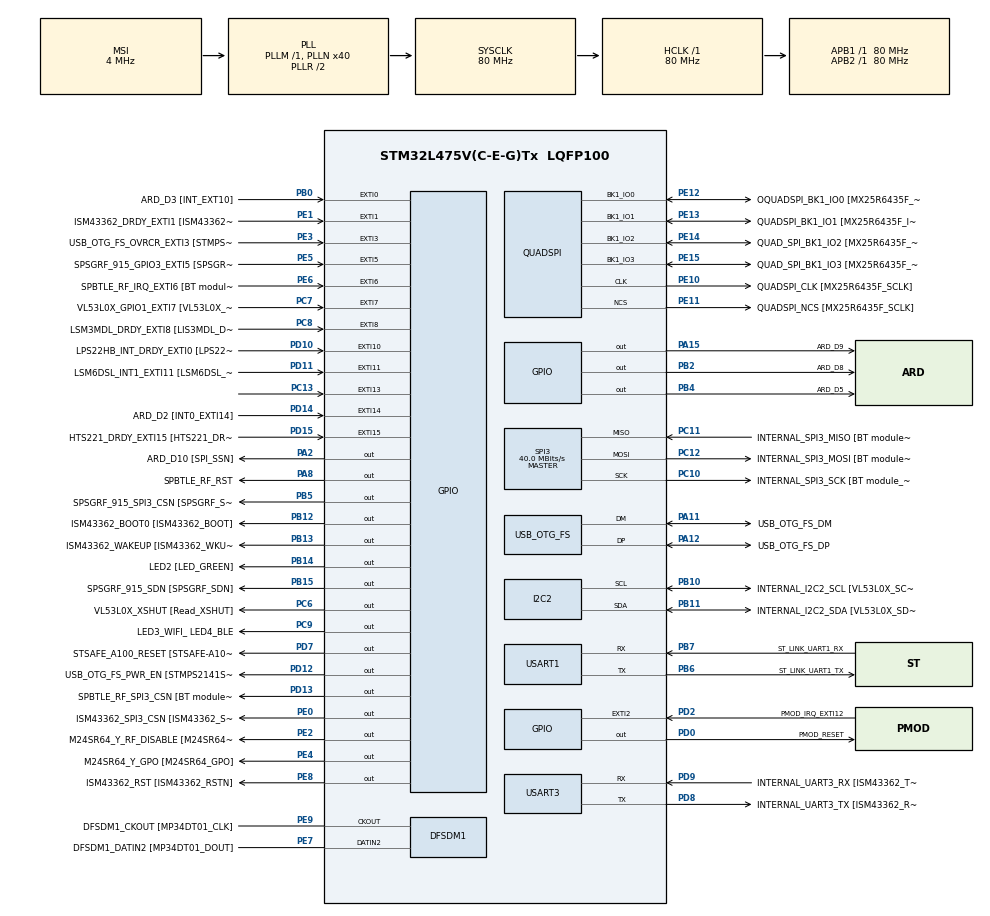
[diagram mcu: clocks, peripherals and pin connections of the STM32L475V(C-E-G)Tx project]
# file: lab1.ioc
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FREERTOS.Tasks01=defaultTask,24,128,StartDefaultTask,Default,NULL,Dynamic,NULL,NULL;myTask02,47,128,StartTask02,Default,NULL,Dynamic,NULL,NULL;myTask03,47,128,StartTask03,Default,NULL,Dynamic,NULL,NULL
I2C2.Timing=0x10D19CE4
Mcu.Family=STM32L4
Mcu.Name=STM32L475V(C-E-G)Tx
Mcu.Package=LQFP100
NVIC.EXTI15_10_IRQn=true\:5\:0\:false\:false\:true\:true\:true\:true\:true
NVIC.EXTI9_5_IRQn=true\:5\:0\:false\:false\:true\:true\:true\:true\:true
NVIC.PriorityGroup=NVIC_PRIORITYGROUP_4
PA0.GPIO_Label=ARD_D1 [UART4_TX]
PA0.Signal=UART4_TX
PA1.GPIO_Label=ARD_D0 [UART4_RX]
PA1.Signal=UART4_RX
PA10.GPIO_Label=USB_OTG_FS_ID
PA10.Signal=USB_OTG_FS_ID
PA11.GPIO_Label=USB_OTG_FS_DM
PA11.Mode=Device_Only
PA11.Signal=USB_OTG_FS_DM
PA12.GPIO_Label=USB_OTG_FS_DP
PA12.Mode=Device_Only
PA12.Signal=USB_OTG_FS_DP
PA13\ (JTMS-SWDIO).GPIO_Label=SYS_JTMS_SWDIO
PA13\ (JTMS-SWDIO).Mode=Serial_Wire
PA13\ (JTMS-SWDIO).Signal=SYS_JTMS-SWDIO
PA14\ (JTCK-SWCLK).GPIO_Label=SYS_JTCK_SWCLK
PA14\ (JTCK-SWCLK).Mode=Serial_Wire
PA14\ (JTCK-SWCLK).Signal=SYS_JTCK-SWCLK
PA15\ (JTDI).GPIO_Label=ARD_D9
PA15\ (JTDI).Signal=GPIO_Output
PA2.GPIO_Label=ARD_D10 [SPI_SSN]
PA2.Signal=GPIO_Output
PA3.GPIO_Label=ARD_D4
PA3.Signal=S_TIM2_CH4
PA4.GPIO_Label=ARD_D7
PA4.Signal=ADCx_IN9
PA5.GPIO_Label=ARD_D13 [SPI1_SCK]
PA5.Signal=SPI1_SCK
PA6.GPIO_Label=ARD_D12 [SPI1_MISO]
PA6.Signal=SPI1_MISO
PA7.GPIO_Label=ARD_D11 [SPI1_MOSI]
PA7.Signal=SPI1_MOSI
PA8.GPIO_Label=SPBTLE_RF_RST
PA8.Signal=GPIO_Output
PA9.GPIO_Label=USB_OTG_FS_VBUS [STMPS2141STR_OUT]
PA9.Signal=USB_OTG_FS_VBUS
PB0.GPIO_Label=ARD_D3 [INT_EXT10]
PB0.Signal=GPXTI0
PB1.GPIO_Label=ARD_D6 [ADC1_IN6]
PB1.Signal=ADCx_IN16
PB10.GPIO_Label=INTERNAL_I2C2_SCL [VL53L0X_SCL]
PB10.GPIO_Pu=GPIO_PULLUP
PB10.Mode=I2C
PB10.Signal=I2C2_SCL
PB11.GPIO_Label=INTERNAL_I2C2_SDA [VL53L0X_SDA]
PB11.GPIO_Pu=GPIO_PULLUP
PB11.Mode=I2C
PB11.Signal=I2C2_SDA
PB12.GPIO_Label=ISM43362_BOOT0 [ISM43362_BOOT]
PB12.Signal=GPIO_Output
PB13.GPIO_Label=ISM43362_WAKEUP [ISM43362_WKUP]
PB13.Signal=GPIO_Output
PB14.GPIO_Label=LED2 [LED_GREEN]
PB14.Signal=GPIO_Output
PB15.GPIO_Label=SPSGRF_915_SDN [SPSGRF_SDN]
PB15.Signal=GPIO_Output
PB2.GPIO_Label=ARD_D8
PB2.Signal=GPIO_Output
PB3\ (JTDO-TRACESWO).GPIO_Label=SYS_JTD0_SWO
PB3\ (JTDO-TRACESWO).Signal=SYS_JTDO-SWO
PB4\ (NJTRST).GPIO_Label=ARD_D5
PB4\ (NJTRST).Signal=GPIO_Output
PB5.GPIO_Label=SPSGRF_915_SPI3_CSN [SPSGRF_SPI_CS]
PB5.PinState=GPIO_PIN_SET
PB5.Signal=GPIO_Output
PB6.GPIO_Label=ST_LINK_UART1_TX
PB6.Mode=Asynchronous
PB6.Signal=USART1_TX
PB7.GPIO_Label=ST_LINK_UART1_RX
PB7.Mode=Asynchronous
PB7.Signal=USART1_RX
PB8.GPIO_Label=ARD_D15 [I2C1_SCL]
PB8.Signal=I2C1_SCL
PB9.GPIO_Label=ARD_D14 [I2C1_SDA]
PB9.Signal=I2C1_SDA
PC0.GPIO_Label=ARD_A5 [ADC]
PC0.Signal=ADCx_IN1
PC1.GPIO_Label=ARD_A4 [ADC]
PC1.Signal=ADCx_IN2
PC10.GPIO_Label=INTERNAL_SPI3_SCK [BT module_SPI_SCLK] [ISM43362_SCK]
PC10.Mode=Full_Duplex_Master
PC10.Signal=SPI3_SCK
PC11.GPIO_Label=INTERNAL_SPI3_MISO [BT module_SPI_MISO] [ISM43362_MISO]
PC11.Mode=Full_Duplex_Master
PC11.Signal=SPI3_MISO
PC12.GPIO_Label=INTERNAL_SPI3_MOSI [BT module_SPI_MOSI] [ISM43362_MOSI]
PC12.Mode=Full_Duplex_Master
PC12.Signal=SPI3_MOSI
PC13.GPIO_ModeDefaultEXTI=GPIO_MODE_IT_RISING_FALLING
PC13.Signal=GPXTI13
PC14-OSC32_IN\ (PC14).Mode=LSE-External-Oscillator
PC14-OSC32_IN\ (PC14).Signal=RCC_OSC32_IN
PC15-OSC32_OUT\ (PC15).Mode=LSE-External-Oscillator
PC15-OSC32_OUT\ (PC15).Signal=RCC_OSC32_OUT
PC2.GPIO_Label=ARD_A3 [ADC]
PC2.Signal=ADCx_IN3
PC3.GPIO_Label=ARD_A2 [ADC]
PC3.Signal=ADCx_IN4
PC4.GPIO_Label=ARD_A1 [ADC]
PC4.Signal=ADCx_IN13
PC5.GPIO_Label=ARD_A0 [ADC]
PC5.Signal=ADCx_IN14
PC6.GPIO_Label=VL53L0X_XSHUT [Read_XSHUT]
PC6.Signal=GPIO_Output
PC7.GPIO_Label=VL53L0X_GPIO1_EXTI7 [VL53L0X_GPIO1]
PC7.Signal=GPXTI7
PC8.GPIO_Label=LSM3MDL_DRDY_EXTI8 [LIS3MDL_DRDY]
PC8.Signal=GPXTI8
PC9.GPIO_Label=LED3_WIFI_ LED4_BLE
PC9.Signal=GPIO_Output
PD0.GPIO_Label=PMOD_RESET
PD0.Signal=GPIO_Output
PD1.GPIO_Label=PMOD_SPI2_SCK
PD1.Signal=SPI2_SCK
PD10.GPIO_Label=LPS22HB_INT_DRDY_EXTI0 [LPS22HB_INT_DRDY] 
PD10.Signal=GPXTI10
PD11.GPIO_Label=LSM6DSL_INT1_EXTI11 [LSM6DSL_INT1]
PD11.Signal=GPXTI11
PD12.GPIO_Label=USB_OTG_FS_PWR_EN [STMPS2141STR_EN]
PD12.Signal=GPIO_Output
PD13.GPIO_Label=SPBTLE_RF_SPI3_CSN [BT module_SPI_CS]
PD13.PinState=GPIO_PIN_SET
PD13.Signal=GPIO_Output
PD14.GPIO_Label=ARD_D2 [INT0_EXTI14]
PD14.Signal=GPXTI14
PD15.GPIO_Label=HTS221_DRDY_EXTI15 [HTS221_DRDY]
PD15.Signal=GPXTI15
PD2.GPIO_Label=PMOD_IRQ_EXTI12
PD2.Signal=GPXTI2
PD3.GPIO_Label=PMOD_UART2_CTS
PD3.Signal=USART2_CTS
PD4.GPIO_Label=PMOD_UART2_RTS
PD4.Signal=USART2_RTS
PD5.GPIO_Label=PMOD_UART2_TX
PD5.Signal=USART2_TX
PD6.GPIO_Label=PMOD_UART2_RX
PD6.Signal=USART2_RX
PD7.GPIO_Label=STSAFE_A100_RESET [STSAFE-A100_RESET]
PD7.Signal=GPIO_Output
PD8.GPIO_Label=INTERNAL_UART3_TX [ISM43362_RX]
PD8.Mode=Asynchronous
PD8.Signal=USART3_TX
PD9.GPIO_Label=INTERNAL_UART3_RX [ISM43362_TX]
PD9.Mode=Asynchronous
PD9.Signal=USART3_RX
PE0.GPIO_Label=ISM43362_SPI3_CSN [ISM43362_SSN]
PE0.PinState=GPIO_PIN_SET
PE0.Signal=GPIO_Output
PE1.GPIO_Label=ISM43362_DRDY_EXTI1 [ISM43362_DATARDY]
PE1.Signal=GPXTI1
PE10.GPIO_Label=QUADSPI_CLK [MX25R6435F_SCLK]
PE10.Mode=Single Bank
PE10.Signal=QUADSPI_CLK
PE11.GPIO_Label=QUADSPI_NCS [MX25R6435F_SCLK]
PE11.Mode=Single Bank
PE11.Signal=QUADSPI_NCS
PE12.GPIO_Label=OQUADSPI_BK1_IO0 [MX25R6435F_IO0]
PE12.Mode=Single Bank
PE12.Signal=QUADSPI_BK1_IO0
PE13.GPIO_Label=QUADSPI_BK1_IO1 [MX25R6435F_IO1]
PE13.Mode=Single Bank
PE13.Signal=QUADSPI_BK1_IO1
PE14.GPIO_Label=QUAD_SPI_BK1_IO2 [MX25R6435F_IO2]
PE14.Mode=Single Bank
PE14.Signal=QUADSPI_BK1_IO2
PE15.GPIO_Label=QUAD_SPI_BK1_IO3 [MX25R6435F_IO3]
PE15.Mode=Single Bank
PE15.Signal=QUADSPI_BK1_IO3
PE2.GPIO_Label=M24SR64_Y_RF_DISABLE [M24SR64_RFDIS]
PE2.Signal=GPIO_Output
PE3.GPIO_Label=USB_OTG_FS_OVRCR_EXTI3 [STMPS2141STR_FAULT]
PE3.Signal=GPXTI3
PE4.GPIO_Label=M24SR64_Y_GPO [M24SR64_GPO]
PE4.Signal=GPIO_Output
PE5.GPIO_Label=SPSGRF_915_GPIO3_EXTI5 [SPSGRF_GPIO_3]
PE5.Signal=GPXTI5
PE6.GPIO_Label=SPBTLE_RF_IRQ_EXTI6 [BT module_SPI_IRQ]
PE6.Signal=GPXTI6
PE7.GPIO_Label=DFSDM1_DATIN2 [MP34DT01_DOUT]
PE7.Signal=S_DATAIN2DFSDM1
PE8.GPIO_Label=ISM43362_RST [ISM43362_RSTN]
PE8.Signal=GPIO_Output
PE9.GPIO_Label=DFSDM1_CKOUT [MP34DT01_CLK]
PE9.Signal=S_CKOUTDFSDM1
ProjectManager.HeapSize=0x200
ProjectManager.StackSize=0x400
ProjectManager.TargetToolchain=CMake
QUADSPI.ClockPrescaler=2
QUADSPI.FifoThreshold=4
QUADSPI.FlashSize=23
QUADSPI.SampleShifting=QSPI_SAMPLE_SHIFTING_HALFCYCLE
RCC.ADCFreq_Value=48000000
RCC.AHBFreq_Value=80000000
RCC.APB1Freq_Value=80000000
RCC.APB1TimFreq_Value=80000000
RCC.APB2Freq_Value=80000000
RCC.APB2TimFreq_Value=80000000
RCC.CortexFreq_Value=80000000
RCC.HCLKFreq_Value=80000000
RCC.HSE_VALUE=8000000
RCC.HSI_VALUE=16000000
RCC.MSI_VALUE=4000000
RCC.PLLN=40
RCC.PLLSAI1N=24
RCC.SYSCLKFreq_VALUE=80000000
RCC.SYSCLKSource=RCC_SYSCLKSOURCE_PLLCLK
RCC.USBFreq_Value=48000000
RCC.VCOOutputFreq_Value=160000000
SH.ADCx_IN1.0=ADC1_IN1
SH.ADCx_IN13.0=ADC1_IN13
SH.ADCx_IN14.0=ADC1_IN14
SH.ADCx_IN16.0=ADC1_IN16
SH.ADCx_IN2.0=ADC1_IN2
SH.ADCx_IN3.0=ADC1_IN3
SH.ADCx_IN4.0=ADC1_IN4
SH.ADCx_IN9.0=ADC1_IN9
SH.S_CKOUTDFSDM1.0=DFSDM1_CKOUT,CKOUT
SH.S_CKOUTDFSDM1.1=DFSDM1_CKOUT,PDM_SPI_Input_from_ch12_and_Internal_Clock
SH.S_DATAIN2DFSDM1.0=DFSDM1_DATIN2,PDM_SPI_Input_from_ch12_and_Internal_Clock
SH.S_TIM2_CH4.0=TIM2_CH4
SPI3.CalculateBaudRate=40.0 MBits/s
SPI3.Direction=SPI_DIRECTION_2LINES
SPI3.Mode=SPI_MODE_MASTER
SPI3.VirtualType=VM_MASTER
USART1.VirtualMode-Asynchronous=VM_ASYNC
USART3.VirtualMode-Asynchronous=VM_ASYNC
USB_OTG_FS.VirtualMode=Device_Only
VP_FREERTOS_VS_CMSIS_V2.Mode=CMSIS_V2
board=B-L475E-IOT01A1

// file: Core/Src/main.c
/* USER CODE BEGIN Header */
/**
  ******************************************************************************
  * @file           : main.c
  * @brief          : Main program body
  ******************************************************************************
  * @attention
  *
  * Copyright (c) 2026 STMicroelectronics.
  * All rights reserved.
  *
  * This software is licensed under terms that can be found in the LICENSE file
  * in the root directory of this software component.
  * If no LICENSE file comes with this software, it is provided AS-IS.
  *
  ******************************************************************************
  */
/* USER CODE END Header */
#include "main.h"
#include "cmsis_os.h"

DFSDM_Channel_HandleTypeDef hdfsdm1_channel1;

I2C_HandleTypeDef hi2c2;

QSPI_HandleTypeDef hqspi;

SPI_HandleTypeDef hspi3;

UART_HandleTypeDef huart1;
UART_HandleTypeDef huart3;

PCD_HandleTypeDef hpcd_USB_OTG_FS;

/* Definitions for defaultTask */
osThreadId_t defaultTaskHandle;
const osThreadAttr_t defaultTask_attributes = {
  .name = "defaultTask",
  .stack_size = 128 * 4,
  .priority = (osPriority_t) osPriorityNormal,
};
/* Definitions for myTask02 */
osThreadId_t myTask02Handle;
const osThreadAttr_t myTask02_attributes = {
  .name = "myTask02",
  .stack_size = 128 * 4,
  .priority = (osPriority_t) osPriorityHigh7,
};
/* Definitions for myTask03 */
osThreadId_t myTask03Handle;
const osThreadAttr_t myTask03_attributes = {
  .name = "myTask03",
  .stack_size = 128 * 4,
  .priority = (osPriority_t) osPriorityHigh7,
};
/* USER CODE BEGIN PV */
// osSemaphoreId_t myBinarySem01Handle;
osSemaphoreId_t myBinarySem02Handle;

osMutexId_t myMutex01Handle;

osTimerId_t myTimer01Handle;

osMessageQueueId_t myQueue01Handle;
// volatile uint32_t myQueue01Buffer[16];
volatile uint32_t button_press_time = 0; // variable to store the time when the button is pressed
/* USER CODE END PV */

void SystemClock_Config(void);
static void MX_GPIO_Init(void);
static void MX_DFSDM1_Init(void);
static void MX_I2C2_Init(void);
static void MX_QUADSPI_Init(void);
static void MX_SPI3_Init(void);
static void MX_USART1_UART_Init(void);
static void MX_USART3_UART_Init(void);
static void MX_USB_OTG_FS_PCD_Init(void);
void StartDefaultTask(void *argument);
void StartTask02(void *argument);
void StartTask03(void *argument);

/* USER CODE BEGIN PFP */
void Timer01_Callback(void *argument);
/* USER CODE END PFP */

int main(void)
{

  /* MCU Configuration--------------------------------------------------------*/

  /* Reset of all peripherals, Initializes the Flash interface and the Systick. */
  HAL_Init();

  /* Configure the system clock */
  SystemClock_Config();

  /* Initialize all configured peripherals */
  MX_GPIO_Init();
  MX_DFSDM1_Init();
  MX_I2C2_Init();
  MX_QUADSPI_Init();
  MX_SPI3_Init();
  MX_USART1_UART_Init();
  MX_USART3_UART_Init();
  MX_USB_OTG_FS_PCD_Init();

  /* Init scheduler */
  osKernelInitialize();

  /* USER CODE BEGIN RTOS_MUTEX */
  /* add mutexes, ... */
  myMutex01Handle = osMutexNew(NULL);
  /* USER CODE END RTOS_MUTEX */

  /* USER CODE BEGIN RTOS_SEMAPHORES */
  /* add semaphores, ... */
  // myBinarySem01Handle = osSemaphoreNew(1, 0, NULL);
  myBinarySem02Handle = osSemaphoreNew(1, 0, NULL);
  /* USER CODE END RTOS_SEMAPHORES */

  /* USER CODE BEGIN RTOS_TIMERS */
  /* start timers, add new ones, ... */
  myTimer01Handle = osTimerNew(Timer01_Callback, osTimerPeriodic, NULL, NULL);
  osTimerStart(myTimer01Handle, 10000);
  /* USER CODE END RTOS_TIMERS */

  /* USER CODE BEGIN RTOS_QUEUES */
  /* add queues, ... */
  myQueue01Handle = osMessageQueueNew(16, sizeof(uint32_t), NULL);
  /* USER CODE END RTOS_QUEUES */

  /* Create the thread(s) */
  /* creation of defaultTask */
  defaultTaskHandle = osThreadNew(StartDefaultTask, NULL, &defaultTask_attributes);

  /* creation of myTask02 */
  myTask02Handle = osThreadNew(StartTask02, NULL, &myTask02_attributes);

  /* creation of myTask03 */
  myTask03Handle = osThreadNew(StartTask03, NULL, &myTask03_attributes);

  /* Start scheduler */
  osKernelStart();

  /* We should never get here as control is now taken by the scheduler */

  /* Infinite loop */
  while (1)
  {

  }
}

void SystemClock_Config(void)
{
  RCC_OscInitTypeDef RCC_OscInitStruct = {0};
  RCC_ClkInitTypeDef RCC_ClkInitStruct = {0};

  /** Configure the main internal regulator output voltage
  */
  if (HAL_PWREx_ControlVoltageScaling(PWR_REGULATOR_VOLTAGE_SCALE1) != HAL_OK)
  {
    Error_Handler();
  }

  /** Configure LSE Drive Capability
  */
  HAL_PWR_EnableBkUpAccess();
  __HAL_RCC_LSEDRIVE_CONFIG(RCC_LSEDRIVE_LOW);

  /** Initializes the RCC Oscillators according to the specified parameters
  * in the RCC_OscInitTypeDef structure.
  */
  RCC_OscInitStruct.OscillatorType = RCC_OSCILLATORTYPE_LSE|RCC_OSCILLATORTYPE_MSI;
  RCC_OscInitStruct.LSEState = RCC_LSE_ON;
  RCC_OscInitStruct.MSIState = RCC_MSI_ON;
  RCC_OscInitStruct.MSICalibrationValue = 0;
  RCC_OscInitStruct.MSIClockRange = RCC_MSIRANGE_6;
  RCC_OscInitStruct.PLL.PLLState = RCC_PLL_ON;
  RCC_OscInitStruct.PLL.PLLSource = RCC_PLLSOURCE_MSI;
  RCC_OscInitStruct.PLL.PLLM = 1;
  RCC_OscInitStruct.PLL.PLLN = 40;
  RCC_OscInitStruct.PLL.PLLP = RCC_PLLP_DIV7;
  RCC_OscInitStruct.PLL.PLLQ = RCC_PLLQ_DIV2;
  RCC_OscInitStruct.PLL.PLLR = RCC_PLLR_DIV2;
  if (HAL_RCC_OscConfig(&RCC_OscInitStruct) != HAL_OK)
  {
    Error_Handler();
  }

  /** Initializes the CPU, AHB and APB buses clocks
  */
  RCC_ClkInitStruct.ClockType = RCC_CLOCKTYPE_HCLK|RCC_CLOCKTYPE_SYSCLK
                              |RCC_CLOCKTYPE_PCLK1|RCC_CLOCKTYPE_PCLK2;
  RCC_ClkInitStruct.SYSCLKSource = RCC_SYSCLKSOURCE_PLLCLK;
  RCC_ClkInitStruct.AHBCLKDivider = RCC_SYSCLK_DIV1;
  RCC_ClkInitStruct.APB1CLKDivider = RCC_HCLK_DIV1;
  RCC_ClkInitStruct.APB2CLKDivider = RCC_HCLK_DIV1;

  if (HAL_RCC_ClockConfig(&RCC_ClkInitStruct, FLASH_LATENCY_4) != HAL_OK)
  {
    Error_Handler();
  }

  /** Enable MSI Auto calibration
  */
  HAL_RCCEx_EnableMSIPLLMode();
}

static void MX_DFSDM1_Init(void)
{

  hdfsdm1_channel1.Instance = DFSDM1_Channel1;
  hdfsdm1_channel1.Init.OutputClock.Activation = ENABLE;
  hdfsdm1_channel1.Init.OutputClock.Selection = DFSDM_CHANNEL_OUTPUT_CLOCK_SYSTEM;
  hdfsdm1_channel1.Init.OutputClock.Divider = 2;
  hdfsdm1_channel1.Init.Input.Multiplexer = DFSDM_CHANNEL_EXTERNAL_INPUTS;
  hdfsdm1_channel1.Init.Input.DataPacking = DFSDM_CHANNEL_STANDARD_MODE;
  hdfsdm1_channel1.Init.Input.Pins = DFSDM_CHANNEL_FOLLOWING_CHANNEL_PINS;
  hdfsdm1_channel1.Init.SerialInterface.Type = DFSDM_CHANNEL_SPI_RISING;
  hdfsdm1_channel1.Init.SerialInterface.SpiClock = DFSDM_CHANNEL_SPI_CLOCK_INTERNAL;
  hdfsdm1_channel1.Init.Awd.FilterOrder = DFSDM_CHANNEL_FASTSINC_ORDER;
  hdfsdm1_channel1.Init.Awd.Oversampling = 1;
  hdfsdm1_channel1.Init.Offset = 0;
  hdfsdm1_channel1.Init.RightBitShift = 0x00;
  if (HAL_DFSDM_ChannelInit(&hdfsdm1_channel1) != HAL_OK)
  {
    Error_Handler();
  }

}

static void MX_I2C2_Init(void)
{

  hi2c2.Instance = I2C2;
  hi2c2.Init.Timing = 0x10D19CE4;
  hi2c2.Init.OwnAddress1 = 0;
  hi2c2.Init.AddressingMode = I2C_ADDRESSINGMODE_7BIT;
  hi2c2.Init.DualAddressMode = I2C_DUALADDRESS_DISABLE;
  hi2c2.Init.OwnAddress2 = 0;
  hi2c2.Init.OwnAddress2Masks = I2C_OA2_NOMASK;
  hi2c2.Init.GeneralCallMode = I2C_GENERALCALL_DISABLE;
  hi2c2.Init.NoStretchMode = I2C_NOSTRETCH_DISABLE;
  if (HAL_I2C_Init(&hi2c2) != HAL_OK)
  {
    Error_Handler();
  }

  /** Configure Analogue filter
  */
  if (HAL_I2CEx_ConfigAnalogFilter(&hi2c2, I2C_ANALOGFILTER_ENABLE) != HAL_OK)
  {
    Error_Handler();
  }

  /** Configure Digital filter
  */
  if (HAL_I2CEx_ConfigDigitalFilter(&hi2c2, 0) != HAL_OK)
  {
    Error_Handler();
  }

}

static void MX_QUADSPI_Init(void)
{

  /* QUADSPI parameter configuration*/
  hqspi.Instance = QUADSPI;
  hqspi.Init.ClockPrescaler = 2;
  hqspi.Init.FifoThreshold = 4;
  hqspi.Init.SampleShifting = QSPI_SAMPLE_SHIFTING_HALFCYCLE;
  hqspi.Init.FlashSize = 23;
  hqspi.Init.ChipSelectHighTime = QSPI_CS_HIGH_TIME_1_CYCLE;
  hqspi.Init.ClockMode = QSPI_CLOCK_MODE_0;
  if (HAL_QSPI_Init(&hqspi) != HAL_OK)
  {
    Error_Handler();
  }

}

static void MX_SPI3_Init(void)
{

  /* SPI3 parameter configuration*/
  hspi3.Instance = SPI3;
  hspi3.Init.Mode = SPI_MODE_MASTER;
  hspi3.Init.Direction = SPI_DIRECTION_2LINES;
  hspi3.Init.DataSize = SPI_DATASIZE_4BIT;
  hspi3.Init.CLKPolarity = SPI_POLARITY_LOW;
  hspi3.Init.CLKPhase = SPI_PHASE_1EDGE;
  hspi3.Init.NSS = SPI_NSS_SOFT;
  hspi3.Init.BaudRatePrescaler = SPI_BAUDRATEPRESCALER_2;
  hspi3.Init.FirstBit = SPI_FIRSTBIT_MSB;
  hspi3.Init.TIMode = SPI_TIMODE_DISABLE;
  hspi3.Init.CRCCalculation = SPI_CRCCALCULATION_DISABLE;
  hspi3.Init.CRCPolynomial = 7;
  hspi3.Init.CRCLength = SPI_CRC_LENGTH_DATASIZE;
  hspi3.Init.NSSPMode = SPI_NSS_PULSE_ENABLE;
  if (HAL_SPI_Init(&hspi3) != HAL_OK)
  {
    Error_Handler();
  }

}

static void MX_USART1_UART_Init(void)
{

  huart1.Instance = USART1;
  huart1.Init.BaudRate = 115200;
  huart1.Init.WordLength = UART_WORDLENGTH_8B;
  huart1.Init.StopBits = UART_STOPBITS_1;
  huart1.Init.Parity = UART_PARITY_NONE;
  huart1.Init.Mode = UART_MODE_TX_RX;
  huart1.Init.HwFlowCtl = UART_HWCONTROL_NONE;
  huart1.Init.OverSampling = UART_OVERSAMPLING_16;
  huart1.Init.OneBitSampling = UART_ONE_BIT_SAMPLE_DISABLE;
  huart1.AdvancedInit.AdvFeatureInit = UART_ADVFEATURE_NO_INIT;
  if (HAL_UART_Init(&huart1) != HAL_OK)
  {
    Error_Handler();
  }

}

static void MX_USART3_UART_Init(void)
{

  huart3.Instance = USART3;
  huart3.Init.BaudRate = 115200;
  huart3.Init.WordLength = UART_WORDLENGTH_8B;
  huart3.Init.StopBits = UART_STOPBITS_1;
  huart3.Init.Parity = UART_PARITY_NONE;
  huart3.Init.Mode = UART_MODE_TX_RX;
  huart3.Init.HwFlowCtl = UART_HWCONTROL_NONE;
  huart3.Init.OverSampling = UART_OVERSAMPLING_16;
  huart3.Init.OneBitSampling = UART_ONE_BIT_SAMPLE_DISABLE;
  huart3.AdvancedInit.AdvFeatureInit = UART_ADVFEATURE_NO_INIT;
  if (HAL_UART_Init(&huart3) != HAL_OK)
  {
    Error_Handler();
  }

}

static void MX_USB_OTG_FS_PCD_Init(void)
{

  hpcd_USB_OTG_FS.Instance = USB_OTG_FS;
  hpcd_USB_OTG_FS.Init.dev_endpoints = 6;
  hpcd_USB_OTG_FS.Init.speed = PCD_SPEED_FULL;
  hpcd_USB_OTG_FS.Init.phy_itface = PCD_PHY_EMBEDDED;
  hpcd_USB_OTG_FS.Init.Sof_enable = DISABLE;
  hpcd_USB_OTG_FS.Init.low_power_enable = DISABLE;
  hpcd_USB_OTG_FS.Init.lpm_enable = DISABLE;
  hpcd_USB_OTG_FS.Init.battery_charging_enable = DISABLE;
  hpcd_USB_OTG_FS.Init.use_dedicated_ep1 = DISABLE;
  hpcd_USB_OTG_FS.Init.vbus_sensing_enable = DISABLE;
  if (HAL_PCD_Init(&hpcd_USB_OTG_FS) != HAL_OK)
  {
    Error_Handler();
  }

}

static void MX_GPIO_Init(void)
{
  GPIO_InitTypeDef GPIO_InitStruct = {0};

  /* GPIO Ports Clock Enable */
  __HAL_RCC_GPIOE_CLK_ENABLE();
  __HAL_RCC_GPIOC_CLK_ENABLE();
  __HAL_RCC_GPIOA_CLK_ENABLE();
  __HAL_RCC_GPIOB_CLK_ENABLE();
  __HAL_RCC_GPIOD_CLK_ENABLE();

  /*Configure GPIO pin Output Level */
  HAL_GPIO_WritePin(GPIOE, M24SR64_Y_RF_DISABLE_Pin|M24SR64_Y_GPO_Pin|ISM43362_RST_Pin, GPIO_PIN_RESET);

  /*Configure GPIO pin Output Level */
  HAL_GPIO_WritePin(GPIOA, ARD_D10_Pin|SPBTLE_RF_RST_Pin|ARD_D9_Pin, GPIO_PIN_RESET);

  /*Configure GPIO pin Output Level */
  HAL_GPIO_WritePin(GPIOB, ARD_D8_Pin|ISM43362_BOOT0_Pin|ISM43362_WAKEUP_Pin|LED2_Pin
                          |SPSGRF_915_SDN_Pin|ARD_D5_Pin, GPIO_PIN_RESET);

  /*Configure GPIO pin Output Level */
  HAL_GPIO_WritePin(GPIOD, USB_OTG_FS_PWR_EN_Pin|PMOD_RESET_Pin|STSAFE_A100_RESET_Pin, GPIO_PIN_RESET);

  /*Configure GPIO pin Output Level */
  HAL_GPIO_WritePin(SPBTLE_RF_SPI3_CSN_GPIO_Port, SPBTLE_RF_SPI3_CSN_Pin, GPIO_PIN_SET);

  /*Configure GPIO pin Output Level */
  HAL_GPIO_WritePin(GPIOC, VL53L0X_XSHUT_Pin|LED3_WIFI__LED4_BLE_Pin, GPIO_PIN_RESET);

  /*Configure GPIO pin Output Level */
  HAL_GPIO_WritePin(SPSGRF_915_SPI3_CSN_GPIO_Port, SPSGRF_915_SPI3_CSN_Pin, GPIO_PIN_SET);

  /*Configure GPIO pin Output Level */
  HAL_GPIO_WritePin(ISM43362_SPI3_CSN_GPIO_Port, ISM43362_SPI3_CSN_Pin, GPIO_PIN_SET);

  /*Configure GPIO pins : M24SR64_Y_RF_DISABLE_Pin M24SR64_Y_GPO_Pin ISM43362_RST_Pin ISM43362_SPI3_CSN_Pin */
  GPIO_InitStruct.Pin = M24SR64_Y_RF_DISABLE_Pin|M24SR64_Y_GPO_Pin|ISM43362_RST_Pin|ISM43362_SPI3_CSN_Pin;
  GPIO_InitStruct.Mode = GPIO_MODE_OUTPUT_PP;
  GPIO_InitStruct.Pull = GPIO_NOPULL;
  GPIO_InitStruct.Speed = GPIO_SPEED_FREQ_LOW;
  HAL_GPIO_Init(GPIOE, &GPIO_InitStruct);

  /*Configure GPIO pins : USB_OTG_FS_OVRCR_EXTI3_Pin SPSGRF_915_GPIO3_EXTI5_Pin SPBTLE_RF_IRQ_EXTI6_Pin ISM43362_DRDY_EXTI1_Pin */
  GPIO_InitStruct.Pin = USB_OTG_FS_OVRCR_EXTI3_Pin|SPSGRF_915_GPIO3_EXTI5_Pin|SPBTLE_RF_IRQ_EXTI6_Pin|ISM43362_DRDY_EXTI1_Pin;
  GPIO_InitStruct.Mode = GPIO_MODE_IT_RISING;
  GPIO_InitStruct.Pull = GPIO_NOPULL;
  HAL_GPIO_Init(GPIOE, &GPIO_InitStruct);

  /*Configure GPIO pin : PC13 */
  GPIO_InitStruct.Pin = GPIO_PIN_13;
  GPIO_InitStruct.Mode = GPIO_MODE_IT_RISING_FALLING;
  GPIO_InitStruct.Pull = GPIO_NOPULL;
  HAL_GPIO_Init(GPIOC, &GPIO_InitStruct);

  /*Configure GPIO pins : ARD_A5_Pin ARD_A4_Pin ARD_A3_Pin ARD_A2_Pin
                           ARD_A1_Pin ARD_A0_Pin */
  GPIO_InitStruct.Pin = ARD_A5_Pin|ARD_A4_Pin|ARD_A3_Pin|ARD_A2_Pin
                          |ARD_A1_Pin|ARD_A0_Pin;
  GPIO_InitStruct.Mode = GPIO_MODE_ANALOG_ADC_CONTROL;
  GPIO_InitStruct.Pull = GPIO_NOPULL;
  HAL_GPIO_Init(GPIOC, &GPIO_InitStruct);

  /*Configure GPIO pins : ARD_D1_Pin ARD_D0_Pin */
  GPIO_InitStruct.Pin = ARD_D1_Pin|ARD_D0_Pin;
  GPIO_InitStruct.Mode = GPIO_MODE_AF_PP;
  GPIO_InitStruct.Pull = GPIO_NOPULL;
  GPIO_InitStruct.Speed = GPIO_SPEED_FREQ_VERY_HIGH;
  GPIO_InitStruct.Alternate = GPIO_AF8_UART4;
  HAL_GPIO_Init(GPIOA, &GPIO_InitStruct);

  /*Configure GPIO pins : ARD_D10_Pin SPBTLE_RF_RST_Pin ARD_D9_Pin */
  GPIO_InitStruct.Pin = ARD_D10_Pin|SPBTLE_RF_RST_Pin|ARD_D9_Pin;
  GPIO_InitStruct.Mode = GPIO_MODE_OUTPUT_PP;
  GPIO_InitStruct.Pull = GPIO_NOPULL;
  GPIO_InitStruct.Speed = GPIO_SPEED_FREQ_LOW;
  HAL_GPIO_Init(GPIOA, &GPIO_InitStruct);

  /*Configure GPIO pin : ARD_D4_Pin */
  GPIO_InitStruct.Pin = ARD_D4_Pin;
  GPIO_InitStruct.Mode = GPIO_MODE_AF_PP;
  GPIO_InitStruct.Pull = GPIO_NOPULL;
  GPIO_InitStruct.Speed = GPIO_SPEED_FREQ_LOW;
  GPIO_InitStruct.Alternate = GPIO_AF1_TIM2;
  HAL_GPIO_Init(ARD_D4_GPIO_Port, &GPIO_InitStruct);

  /*Configure GPIO pin : ARD_D7_Pin */
  GPIO_InitStruct.Pin = ARD_D7_Pin;
  GPIO_InitStruct.Mode = GPIO_MODE_ANALOG_ADC_CONTROL;
  GPIO_InitStruct.Pull = GPIO_NOPULL;
  HAL_GPIO_Init(ARD_D7_GPIO_Port, &GPIO_InitStruct);

  /*Configure GPIO pins : ARD_D13_Pin ARD_D12_Pin ARD_D11_Pin */
  GPIO_InitStruct.Pin = ARD_D13_Pin|ARD_D12_Pin|ARD_D11_Pin;
  GPIO_InitStruct.Mode = GPIO_MODE_AF_PP;
  GPIO_InitStruct.Pull = GPIO_NOPULL;
  GPIO_InitStruct.Speed = GPIO_SPEED_FREQ_VERY_HIGH;
  GPIO_InitStruct.Alternate = GPIO_AF5_SPI1;
  HAL_GPIO_Init(GPIOA, &GPIO_InitStruct);

  /*Configure GPIO pin : ARD_D3_Pin */
  GPIO_InitStruct.Pin = ARD_D3_Pin;
  GPIO_InitStruct.Mode = GPIO_MODE_IT_RISING;
  GPIO_InitStruct.Pull = GPIO_NOPULL;
  HAL_GPIO_Init(ARD_D3_GPIO_Port, &GPIO_InitStruct);

  /*Configure GPIO pin : ARD_D6_Pin */
  GPIO_InitStruct.Pin = ARD_D6_Pin;
  GPIO_InitStruct.Mode = GPIO_MODE_ANALOG_ADC_CONTROL;
  GPIO_InitStruct.Pull = GPIO_NOPULL;
  HAL_GPIO_Init(ARD_D6_GPIO_Port, &GPIO_InitStruct);

  /*Configure GPIO pins : ARD_D8_Pin ISM43362_BOOT0_Pin ISM43362_WAKEUP_Pin LED2_Pin
                           SPSGRF_915_SDN_Pin ARD_D5_Pin SPSGRF_915_SPI3_CSN_Pin */
  GPIO_InitStruct.Pin = ARD_D8_Pin|ISM43362_BOOT0_Pin|ISM43362_WAKEUP_Pin|LED2_Pin
                          |SPSGRF_915_SDN_Pin|ARD_D5_Pin|SPSGRF_915_SPI3_CSN_Pin;
  GPIO_InitStruct.Mode = GPIO_MODE_OUTPUT_PP;
  GPIO_InitStruct.Pull = GPIO_NOPULL;
  GPIO_InitStruct.Speed = GPIO_SPEED_FREQ_LOW;
  HAL_GPIO_Init(GPIOB, &GPIO_InitStruct);

  /*Configure GPIO pins : LPS22HB_INT_DRDY_EXTI0_Pin LSM6DSL_INT1_EXTI11_Pin ARD_D2_Pin HTS221_DRDY_EXTI15_Pin
                           PMOD_IRQ_EXTI12_Pin */
  GPIO_InitStruct.Pin = LPS22HB_INT_DRDY_EXTI0_Pin|LSM6DSL_INT1_EXTI11_Pin|ARD_D2_Pin|HTS221_DRDY_EXTI15_Pin
                          |PMOD_IRQ_EXTI12_Pin;
  GPIO_InitStruct.Mode = GPIO_MODE_IT_RISING;
  GPIO_InitStruct.Pull = GPIO_NOPULL;
  HAL_GPIO_Init(GPIOD, &GPIO_InitStruct);

  /*Configure GPIO pins : USB_OTG_FS_PWR_EN_Pin SPBTLE_RF_SPI3_CSN_Pin PMOD_RESET_Pin STSAFE_A100_RESET_Pin */
  GPIO_InitStruct.Pin = USB_OTG_FS_PWR_EN_Pin|SPBTLE_RF_SPI3_CSN_Pin|PMOD_RESET_Pin|STSAFE_A100_RESET_Pin;
  GPIO_InitStruct.Mode = GPIO_MODE_OUTPUT_PP;
  GPIO_InitStruct.Pull = GPIO_NOPULL;
  GPIO_InitStruct.Speed = GPIO_SPEED_FREQ_LOW;
  HAL_GPIO_Init(GPIOD, &GPIO_InitStruct);

  /*Configure GPIO pins : VL53L0X_XSHUT_Pin LED3_WIFI__LED4_BLE_Pin */
  GPIO_InitStruct.Pin = VL53L0X_XSHUT_Pin|LED3_WIFI__LED4_BLE_Pin;
  GPIO_InitStruct.Mode = GPIO_MODE_OUTPUT_PP;
  GPIO_InitStruct.Pull = GPIO_NOPULL;
  GPIO_InitStruct.Speed = GPIO_SPEED_FREQ_LOW;
  HAL_GPIO_Init(GPIOC, &GPIO_InitStruct);

  /*Configure GPIO pins : VL53L0X_GPIO1_EXTI7_Pin LSM3MDL_DRDY_EXTI8_Pin */
  GPIO_InitStruct.Pin = VL53L0X_GPIO1_EXTI7_Pin|LSM3MDL_DRDY_EXTI8_Pin;
  GPIO_InitStruct.Mode = GPIO_MODE_IT_RISING;
  GPIO_InitStruct.Pull = GPIO_NOPULL;
  HAL_GPIO_Init(GPIOC, &GPIO_InitStruct);

  /*Configure GPIO pin : PMOD_SPI2_SCK_Pin */
  GPIO_InitStruct.Pin = PMOD_SPI2_SCK_Pin;
  GPIO_InitStruct.Mode = GPIO_MODE_AF_PP;
  GPIO_InitStruct.Pull = GPIO_NOPULL;
  GPIO_InitStruct.Speed = GPIO_SPEED_FREQ_VERY_HIGH;
  GPIO_InitStruct.Alternate = GPIO_AF5_SPI2;
  HAL_GPIO_Init(PMOD_SPI2_SCK_GPIO_Port, &GPIO_InitStruct);

  /*Configure GPIO pins : PMOD_UART2_CTS_Pin PMOD_UART2_RTS_Pin PMOD_UART2_TX_Pin PMOD_UART2_RX_Pin */
  GPIO_InitStruct.Pin = PMOD_UART2_CTS_Pin|PMOD_UART2_RTS_Pin|PMOD_UART2_TX_Pin|PMOD_UART2_RX_Pin;
  GPIO_InitStruct.Mode = GPIO_MODE_AF_PP;
  GPIO_InitStruct.Pull = GPIO_NOPULL;
  GPIO_InitStruct.Speed = GPIO_SPEED_FREQ_VERY_HIGH;
  GPIO_InitStruct.Alternate = GPIO_AF7_USART2;
  HAL_GPIO_Init(GPIOD, &GPIO_InitStruct);

  /*Configure GPIO pins : ARD_D15_Pin ARD_D14_Pin */
  GPIO_InitStruct.Pin = ARD_D15_Pin|ARD_D14_Pin;
  GPIO_InitStruct.Mode = GPIO_MODE_AF_OD;
  GPIO_InitStruct.Pull = GPIO_NOPULL;
  GPIO_InitStruct.Speed = GPIO_SPEED_FREQ_VERY_HIGH;
  GPIO_InitStruct.Alternate = GPIO_AF4_I2C1;
  HAL_GPIO_Init(GPIOB, &GPIO_InitStruct);

  /* EXTI interrupt init*/
  HAL_NVIC_SetPriority(EXTI9_5_IRQn, 5, 0);
  HAL_NVIC_EnableIRQ(EXTI9_5_IRQn);

  HAL_NVIC_SetPriority(EXTI15_10_IRQn, 5, 0);
  HAL_NVIC_EnableIRQ(EXTI15_10_IRQn);

}

/* USER CODE BEGIN 4 */

void HAL_GPIO_EXTI_Callback(uint16_t GPIO_Pin)
{
  if (GPIO_Pin == GPIO_PIN_13)
  {
    // for (int i = 0; i < 5; i++)
    // {
    //   HAL_GPIO_TogglePin(GPIOB, LED2_Pin);
    //   osDelay(500);
    //   HAL_GPIO_TogglePin(GPIOB, LED2_Pin);
    //   osDelay(500);
    // }

    if (HAL_GPIO_ReadPin(GPIOC, GPIO_PIN_13) == GPIO_PIN_RESET)
    {
      // record the time when the button is pressed
      button_press_time = HAL_GetTick();
    }
    else
    {
      //check if the button was press for more than 1 second
      if (HAL_GetTick() - button_press_time >= 1000)
      {
        // button was pressed for more than 1 second
        // put message in the queue
        uint32_t message = 1; // example message
        osMessageQueuePut(myQueue01Handle, &message, 0, 0);
      }
      else
      {
        // button was pressed for less than 1 second
        // handle short press
        // also put message in the queue
        uint32_t message = 0; // example message
        osMessageQueuePut(myQueue01Handle, &message, 0, 0);
      }
    }

    //osSemaphoreRelease(myBinarySem01Handle);

  }

}

void Timer01_Callback(void *argument)
{
  // HAL_GPIO_TogglePin(GPIOB, LED2_Pin);
  osSemaphoreRelease(myBinarySem02Handle);
}

/* USER CODE END 4 */

void StartDefaultTask(void *argument)
{
  /* USER CODE BEGIN 5 */
  /* Infinite loop */
  for(;;)
  {

    osSemaphoreAcquire(myBinarySem02Handle, osWaitForever);
    for(int i = 0; i < 20; i++)
    {
      osMutexAcquire(myMutex01Handle, osWaitForever);
      HAL_GPIO_TogglePin(GPIOB, LED2_Pin);
      osMutexRelease(myMutex01Handle);
      osDelay(50);
      osMutexAcquire(myMutex01Handle, osWaitForever);
      HAL_GPIO_TogglePin(GPIOB, LED2_Pin);
      osMutexRelease(myMutex01Handle);
      osDelay(50);
    }

    //HAL_Delay(1000);
  }
  /* USER CODE END 5 */
}

void StartTask02(void *argument)
{
  /* USER CODE BEGIN StartTask02 */
  /* Infinite loop */
  for(;;)
  {
    // HAL_GPIO_TogglePin(GPIOB, LED2_Pin);
    osDelay(1000);
  }
  /* USER CODE END StartTask02 */
}

void StartTask03(void *argument)
{
  /* USER CODE BEGIN StartTask03 */
  /* Infinite loop */
  for(;;)
  {
    // osSemaphoreAcquire(myBinarySem01Handle, osWaitForever);
    // osMutexAcquire(myMutex01Handle, osWaitForever);
    // for (int i =0;i <5; i++)
    // {
    //   HAL_GPIO_TogglePin(GPIOB, LED2_Pin);
    //   osDelay(500);
    //   HAL_GPIO_TogglePin(GPIOB, LED2_Pin);
    //   osDelay(500);
    // }
    // osMutexRelease(myMutex01Handle);

    uint32_t message;
    osMessageQueueGet(myQueue01Handle, &message, NULL, osWaitForever);
    // long or short press
    if (message == 1)
    {
      // long press
      osMutexAcquire(myMutex01Handle, osWaitForever);
      for (int i = 0; i < 50; i++)
      {
        HAL_GPIO_TogglePin(GPIOB, LED2_Pin);
        osDelay(50);
        HAL_GPIO_TogglePin(GPIOB, LED2_Pin);
        osDelay(50);
      }
      osMutexRelease(myMutex01Handle);
    }
    else
    {
      // short press
      osMutexAcquire(myMutex01Handle, osWaitForever);
      for (int i = 0; i < 5; i++)
      {
        HAL_GPIO_TogglePin(GPIOB, LED2_Pin);
        osDelay(500);
        HAL_GPIO_TogglePin(GPIOB, LED2_Pin);
        osDelay(500);
      }
      osMutexRelease(myMutex01Handle);
    }
  }
  /* USER CODE END StartTask03 */
}

void Error_Handler(void)
{
  __disable_irq();
  while (1)
  {
  }
}
